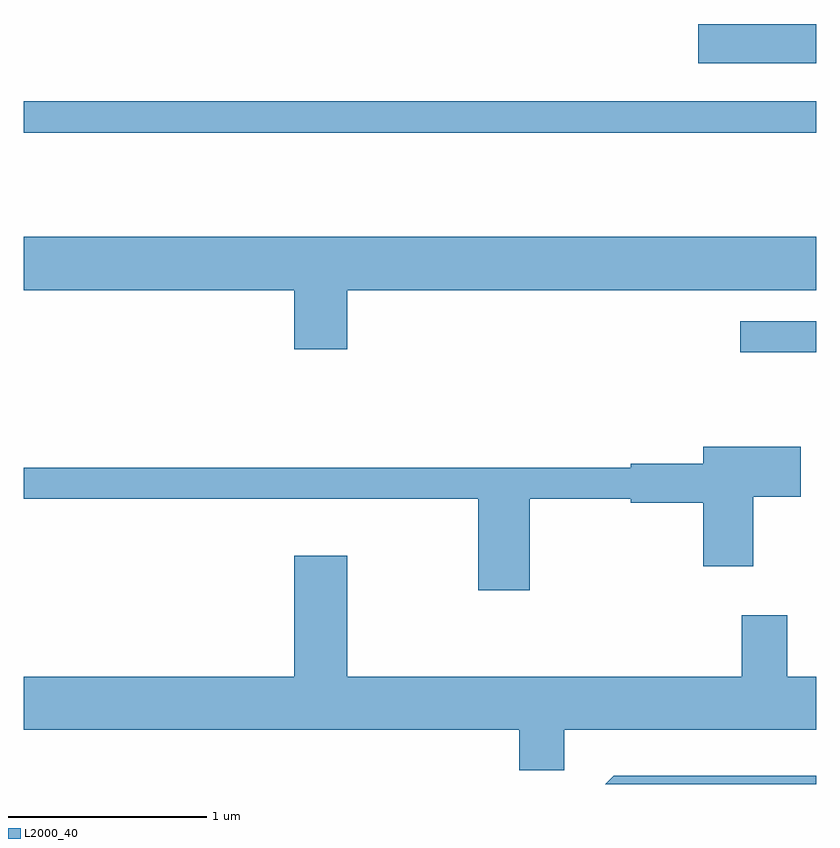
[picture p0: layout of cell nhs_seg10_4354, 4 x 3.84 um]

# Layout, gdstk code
import gdstk
lib = gdstk.Library(unit=1e-6, precision=1e-09)
def R(c, l, rs):  # rectangles x0, y0, x1, y1
    for r in rs: c.add(gdstk.rectangle(r[:2], r[2:], *l))
def P(c, l, *ps):  # polygons
    for p in ps: c.add(gdstk.Polygon(p, *l))
L2000_40 = (2000, 40)

nhs_seg10_4354 = lib.new_cell('nhs_seg10_4354')
R(nhs_seg10_4354, L2000_40, [(317.228,2124.701,317.611,2124.859), (313.611,2125.811,317.611,2125.969), (317.016,2126.161,317.611,2126.359)])
P(nhs_seg10_4354, L2000_40, [(315.244,2125.016),(317.611,2125.016),(317.611,2125.284),(313.611,2125.284),(313.611,2125.016),(314.976,2125.016),(314.976,2124.716),(315.244,2124.716)],
  [(316.164,2123.961),(316.676,2123.961),(316.676,2123.941),(317.041,2123.941),(317.041,2123.621),(317.294,2123.621),(317.294,2123.971),(317.534,2123.971),(317.534,2124.224),(317.041,2124.224),(317.041,2124.139),(316.676,2124.139),(316.676,2124.119),(313.611,2124.119),(313.611,2123.961),(315.906,2123.961),(315.906,2123.501),(316.164,2123.501)],
  [(316.339,2122.796),(317.611,2122.796),(317.611,2123.064),(317.464,2123.064),(317.464,2123.374),(317.236,2123.374),(317.236,2123.064),(315.244,2123.064),(315.244,2123.674),(314.976,2123.674),(314.976,2123.064),(313.611,2123.064),(313.611,2122.796),(316.111,2122.796),(316.111,2122.591),(316.339,2122.591)],
  [(317.611,2122.564),(316.589,2122.564),(316.547,2122.522),(317.611,2122.522)])

lib.write_gds('nhs_seg10_4354.gds')
